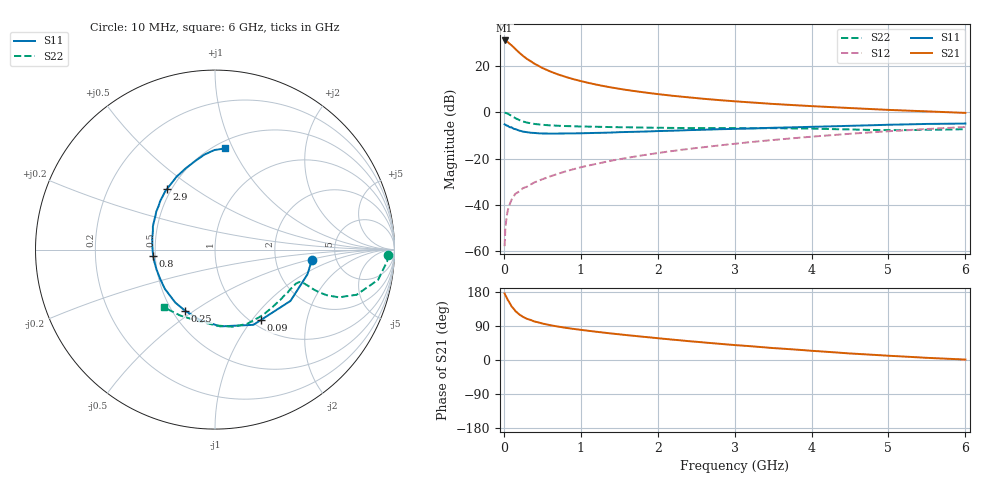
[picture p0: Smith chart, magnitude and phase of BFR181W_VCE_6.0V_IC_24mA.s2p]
! (c) 2017  Infineon Technologies AG, Munich
! Infineon Technologies  Discrete & RF Semiconductors
! BFR181W
! VCE =  6.0 V,  IC =  24 mA
! Common Emitter S-Parameters:  Jan 2017
# GHz  S  MA  R  50
!  f  S11  S21  S12  S22
! GHz  MAG  ANG  MAG  ANG  MAG  ANG  MAG  ANG
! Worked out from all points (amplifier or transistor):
!   77 points, 10 MHz to 6 GHz, reference 50 ohm
!   highest |S21| = 30.8 dB at 10 MHz (marker M1)
!   |S21| within 3 dB of that: start of sweep to 129 MHz
!   unconditionally stable (mu >= 1): 535.1 MHz to 2.409 GHz
!   at 130 MHz: K = 0.46, MSG = 32.0 dB, |S12| = -36.1 dB
!   at 2.2 GHz: K = 1.03, MAG = 10.9 dB, |S12| = -16.7 dB
!   at 6 GHz: K = 0.83, MSG = 3.0 dB, |S12| = -6.4 dB
!   S11 on the Smith chart (normalised r, x): 10 MHz: 3.29, -0.52; 90 MHz: 1.10, -1.11; 250 MHz: 0.58, -0.46; 800 MHz: 0.49, -0.04; 2.9 GHz: 0.47, +0.39; 6 GHz: 0.56, +0.93
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0.01  0.5438 -5.9  34.69 175.8  0.0013 85.9  0.9648 -1.7
0.02  0.5329 -15.1  34.15 170.9  0.0031 94.7  0.9609 -4.0
0.05  0.5085 -34.2  32.19 158.9  0.0075 79.9  0.9241 -10.5
0.09  0.4682 -57.0  28.11 145.4  0.0118 71.0  0.8463 -16.1
0.1  0.4706 -63.0  27.37 141.5  0.0129 69.7  0.8283 -17.7
0.15  0.4288 -86.2  22.76 129.3  0.0174 64.3  0.7383 -21.1
0.2  0.3994 -102.7  18.95 120.3  0.0196 64.1  0.6727 -22.2
0.25  0.3791 -116.1  16.11 113.7  0.0231 62.5  0.6272 -22.3
0.3  0.3688 -126.9  13.91 108.7  0.0247 64.0  0.5933 -22.0
0.4  0.3548 -142.1  10.9 101.5  0.0308 66.3  0.5535 -21.2
0.5  0.3458 -152.9  8.882 96.3  0.0357 68.4  0.5318 -20.8
0.6  0.3442 -161.3  7.505 92.0  0.0411 69.5  0.5168 -20.7
0.7  0.3445 -168.1  6.488 88.4  0.0467 71.5  0.5073 -20.8
0.8  0.3463 -173.8  5.73 85.1  0.0527 72.6  0.4997 -21.4
1.1  0.3523 172.8  4.238 77.1  0.0707 74.8  0.4858 -23.9
1.5  0.3688 159.8  3.165 67.8  0.0963 75.5  0.4716 -29.0
2.1  0.393 144.7  2.332 55.6  0.1383 74.5  0.4571 -39.1
2.9  0.4304 128.6  1.754 41.1  0.1995 70.6  0.4504 -55.0
3.1  0.4384 124.8  1.659 38.0  0.2161 69.2  0.449 -59.0
4.1  0.4851 108.5  1.315 23.0  0.3035 61.3  0.4362 -79.2
5.1  0.5365 95.1  1.096 10.2  0.395 51.2  0.4081 -106.0
6  0.5659 84.6  0.959 1.1  0.4765 41.3  0.4286 -131.2
